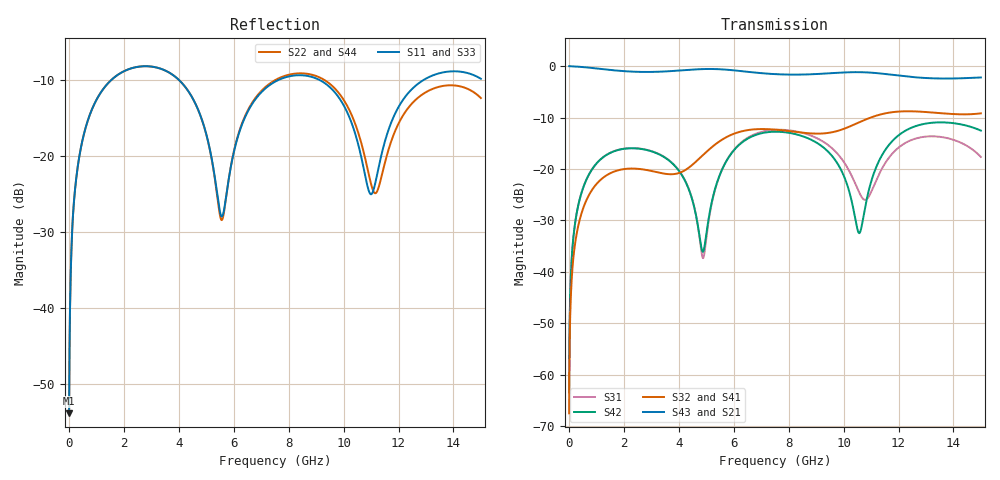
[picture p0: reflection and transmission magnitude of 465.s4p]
! Created with skrf 1.8.0 (http://scikit-rf.org).
# GHz S RI R 50.0
!freq ReS11 ImS11 ReS12 ImS12 ReS13 ImS13
! ReS14 ImS14
! ReS21 ImS21 ReS22 ImS22 ReS23 ImS23
! ReS24 ImS24
! ReS31 ImS31 ReS32 ImS32 ReS33 ImS33
! ReS34 ImS34
! ReS41 ImS41 ReS42 ImS42 ReS43 ImS43
! ReS44 ImS44
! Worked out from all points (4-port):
!   2499 points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, 5 MHz to 15 GHz, reference 50 ohm
!   strongest paths, dB at 5 MHz, 3.476 GHz, 7.19 GHz, 11.1 GHz, 15 GHz:
!     S43: 0.0, -1.0, -1.5, -1.3, -2.2
!     S21: 0.0, -1.0, -1.5, -1.3, -2.2
!     S32: -67.5, -20.9, -12.2, -9.8, -9.2
!     S41: -67.5, -20.9, -12.3, -9.8, -9.2
!     S42: -63.4, -17.7, -12.9, -20.9, -12.5
!     S31: -63.4, -17.7, -12.6, -23.3, -17.7
!   lowest |S11| = -53.9 dB at 5 MHz (marker M1), VSWR 1.00, Z = 50.2 + j0.123 ohm
!   |S11| at or under -10 dB: start of sweep to 1.527 GHz; 4.019 GHz to 7.599 GHz (3.579 GHz wide, 61.6 % of centre); 9.151 GHz to 12.89 GHz (3.739 GHz wide, 33.9 % of centre)
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0.005  0.00161 0.00122  0.9984 -0.00314  8.19e-05 0.000668  -7.94e-05 -0.000414
       0.9984 -0.00314  0.00161 0.00122  -7.94e-05 -0.000414  8.19e-05 0.000668
       8.19e-05 0.000668  -7.94e-05 -0.000414  0.00161 0.00122  0.9984 -0.00314
       -7.94e-05 -0.000414  8.19e-05 0.000668  0.9984 -0.00314  0.00161 0.00122
0.3126303  0.0234 0.0805  0.968 -0.1955  0.0112 0.0397  -0.00921 -0.0244
           0.968 -0.1955  0.0234 0.0805  -0.00921 -0.0244  0.0111 0.0397
           0.0112 0.0397  -0.00921 -0.0244  0.0234 0.0805  0.968 -0.1955
           -0.00921 -0.0244  0.0111 0.0397  0.968 -0.1955  0.0234 0.0805
1.519383  0.2579 0.1815  0.5739 -0.7144  0.128 0.0667  -0.0907 -0.0104
          0.5739 -0.7144  0.2582 0.1812  -0.0908 -0.0104  0.1272 0.0678
          0.128 0.0667  -0.0908 -0.0104  0.2578 0.1815  0.5739 -0.7144
          -0.0907 -0.0104  0.1272 0.0678  0.5739 -0.7144  0.2582 0.1812
5.389746  0.0406 -0.0414  -0.9218 -0.1545  -0.0082 0.0724  -0.0283 0.1761
          -0.9218 -0.1545  0.0385 -0.0407  -0.0275 0.1762  -0.0139 0.0723
          -0.0082 0.0724  -0.0275 0.1762  0.0398 -0.042  -0.9217 -0.1548
          -0.0283 0.1761  -0.0139 0.0723  -0.9217 -0.1548  0.0394 -0.041
8.747395  0.331 -0.0609  0.0401 0.829  0.1827 -0.1118  0.2025 -0.0875
          0.0401 0.829  0.3412 -0.0672  0.203 -0.0904  0.185 -0.0661
          0.1827 -0.1118  0.203 -0.0904  0.3273 -0.0562  0.0399 0.8303
          0.2025 -0.0875  0.185 -0.0661  0.0399 0.8303  0.338 -0.0711
10.57316  0.0777 -0.0806  0.7644 0.4203  -0.0452 -0.0377  0.1297 -0.2534
          0.7644 0.4203  0.0842 -0.1063  0.1252 -0.2556  0.0237 0.00201
          -0.0452 -0.0377  0.1252 -0.2556  0.0805 -0.0732  0.7653 0.4199
          0.1297 -0.2534  0.0237 0.00201  0.7653 0.4199  0.0767 -0.1049
15  0.2859 -0.1524  -0.2237 -0.7411  0.1194 -0.0538  -0.3119 0.1479
    -0.2237 -0.7411  0.2245 -0.0901  -0.3108 0.1554  0.073 -0.2245
    0.1194 -0.0538  -0.3108 0.1554  0.2841 -0.1438  -0.2228 -0.7428
    -0.3119 0.1479  0.073 -0.2245  -0.2228 -0.7428  0.2189 -0.0963
